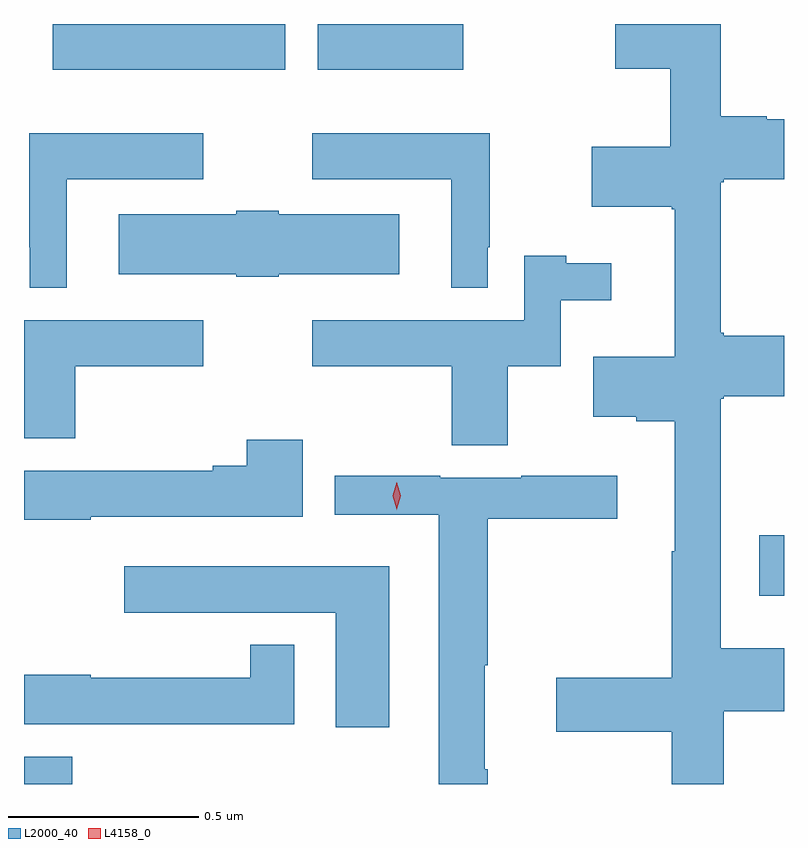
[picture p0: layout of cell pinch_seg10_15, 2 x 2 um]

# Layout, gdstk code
import gdstk
lib = gdstk.Library(unit=1e-6, precision=1e-09)
def R(c, l, rs):  # rectangles x0, y0, x1, y1
    for r in rs: c.add(gdstk.rectangle(r[:2], r[2:], *l))
def P(c, l, *ps):  # polygons
    for p in ps: c.add(gdstk.Polygon(p, *l))
L2000_40 = (2000, 40)
L4158_0 = (4158, 0)

pinch_seg10_15 = lib.new_cell('pinch_seg10_15')
R(pinch_seg10_15, L2000_40, [(976.029,1275.988,976.156,1276.06), (977.964,1276.484,978.029,1276.642), (976.104,1277.867,976.717,1277.988), (976.802,1277.867,977.185,1277.988)])
P(pinch_seg10_15, L2000_40, [(977.871,1276.18),(978.029,1276.18),(978.029,1276.345),(977.863,1276.345),(977.863,1277.002),(977.871,1277.002),(977.871,1277.009),(978.029,1277.009),(978.029,1277.167),(977.871,1277.167),(977.871,1277.175),(977.863,1277.175),(977.863,1277.572),(977.871,1277.572),(977.871,1277.579),(978.029,1277.579),(978.029,1277.737),(977.984,1277.737),(977.984,1277.745),(977.863,1277.745),(977.863,1277.988),(977.585,1277.988),(977.585,1277.87),(977.729,1277.87),(977.729,1277.665),(977.523,1277.665),(977.523,1277.507),(977.734,1277.507),(977.734,1277.5),(977.741,1277.5),(977.741,1277.113),(977.527,1277.113),(977.527,1276.955),(977.64,1276.955),(977.64,1276.943),(977.741,1276.943),(977.741,1276.601),(977.734,1276.601),(977.734,1276.268),(977.43,1276.268),(977.43,1276.126),(977.734,1276.126),(977.734,1275.988),(977.871,1275.988)],
  [(976.141,1277.579),(976.501,1277.579),(976.501,1277.701),(976.043,1277.701),(976.043,1277.401),(976.044,1277.401),(976.044,1277.294),(976.141,1277.294)],
  [(977.25,1277.401),(977.255,1277.401),(977.255,1277.701),(976.788,1277.701),(976.788,1277.579),(977.153,1277.579),(977.153,1277.294),(977.25,1277.294)],
  [(976.7,1277.33),(977.017,1277.33),(977.017,1277.488),(976.7,1277.488),(976.7,1277.496),(976.588,1277.496),(976.588,1277.488),(976.278,1277.488),(976.278,1277.33),(976.588,1277.33),(976.588,1277.323),(976.7,1277.323)],
  [(977.302,1277.087),(977.442,1277.087),(977.442,1277.261),(977.575,1277.261),(977.575,1277.359),(977.456,1277.359),(977.456,1277.378),(977.346,1277.378),(977.346,1277.209),(976.788,1277.209),(976.788,1277.087),(977.155,1277.087),(977.155,1276.879),(977.302,1276.879)],
  [(976.164,1277.087),(976.501,1277.087),(976.501,1277.209),(976.029,1277.209),(976.029,1276.898),(976.164,1276.898)],
  [(976.205,1276.691),(976.762,1276.691),(976.762,1276.894),(976.615,1276.894),(976.615,1276.826),(976.526,1276.826),(976.526,1276.813),(976.029,1276.813),(976.029,1276.684),(976.205,1276.684)],
  [(977.25,1276.027),(977.242,1276.027),(977.242,1276.301),(977.25,1276.301),(977.25,1276.686),(977.59,1276.686),(977.59,1276.799),(977.338,1276.799),(977.338,1276.794),(977.124,1276.794),(977.124,1276.799),(976.847,1276.799),(976.847,1276.697),(977.12,1276.697),(977.12,1275.988),(977.25,1275.988)],
  [(976.99,1276.561),(976.293,1276.561),(976.293,1276.439),(976.85,1276.439),(976.85,1276.137),(976.99,1276.137)],
  [(976.74,1276.354),(976.624,1276.354),(976.624,1276.267),(976.205,1276.267),(976.205,1276.275),(976.029,1276.275),(976.029,1276.145),(976.74,1276.145)])
P(pinch_seg10_15, L4158_0, [(977.01,1276.71),(977.01,1276.711),(977,1276.746),(977.01,1276.782),(977.01,1276.782),(977.01,1276.782),(977.02,1276.746),(977.01,1276.711)])

lib.write_gds('pinch_seg10_15.gds')
